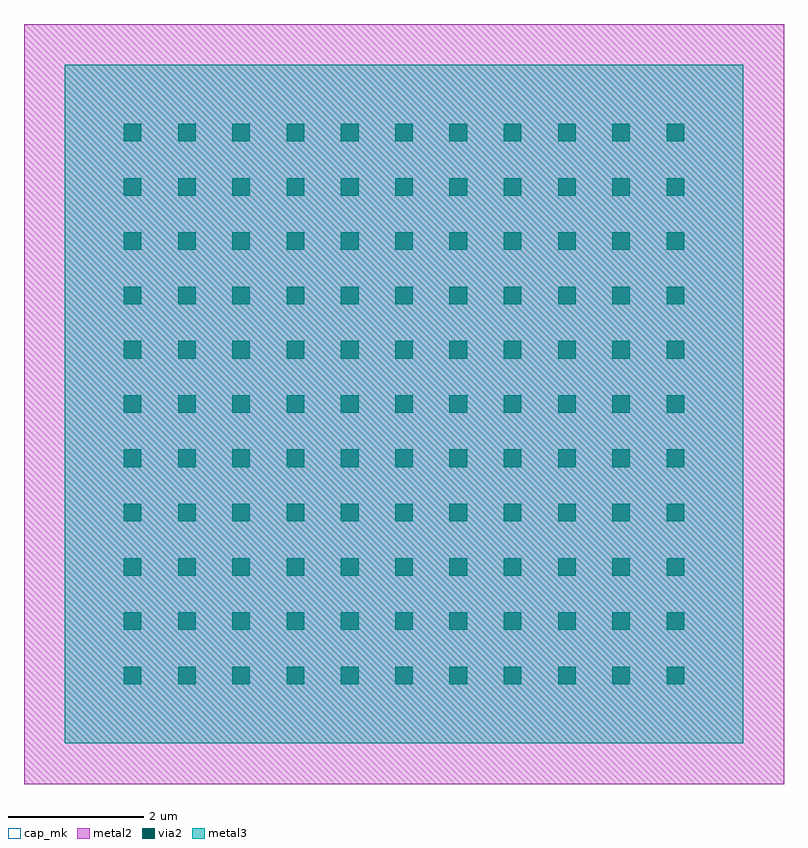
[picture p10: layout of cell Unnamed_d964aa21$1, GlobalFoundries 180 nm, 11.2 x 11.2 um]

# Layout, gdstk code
import gdstk
lib = gdstk.Library(unit=1e-6, precision=5e-09)
def R(c, l, rs):  # rectangles x0, y0, x1, y1
    for r in rs: c.add(gdstk.rectangle(r[:2], r[2:], *l))
def A(c, l, x, y, w, h, nx, ny, dx, dy):  # array of equal rectangles
    R(c, l, [(x+i*dx, y+j*dy, x+i*dx+w, y+j*dy+h) for i in range(nx) for j in range(ny)])
metal2 = (36, 0)
via2 = (38, 0)
metal3 = (42, 0)
cap_mk = (117, 5)

unnamed_d964aa21_1 = lib.new_cell('Unnamed_d964aa21$1')
R(unnamed_d964aa21_1, metal2, [(-5.6,-5.6,5.6,5.6)])
A(unnamed_d964aa21_1, via2, -4.13, -4.13, 0.26, 0.26, 11, 11, 0.8, 0.8)
A(unnamed_d964aa21_1, metal3, -4.25, -4.25, 0.5, 0.5, 11, 11, 0.8, 0.8)
R(unnamed_d964aa21_1, metal3, [(-5,-5,5,5)])
R(unnamed_d964aa21_1, cap_mk, [(-5,-5,5,5)])

lib.write_gds('Unnamed_d964aa21_1.gds')
